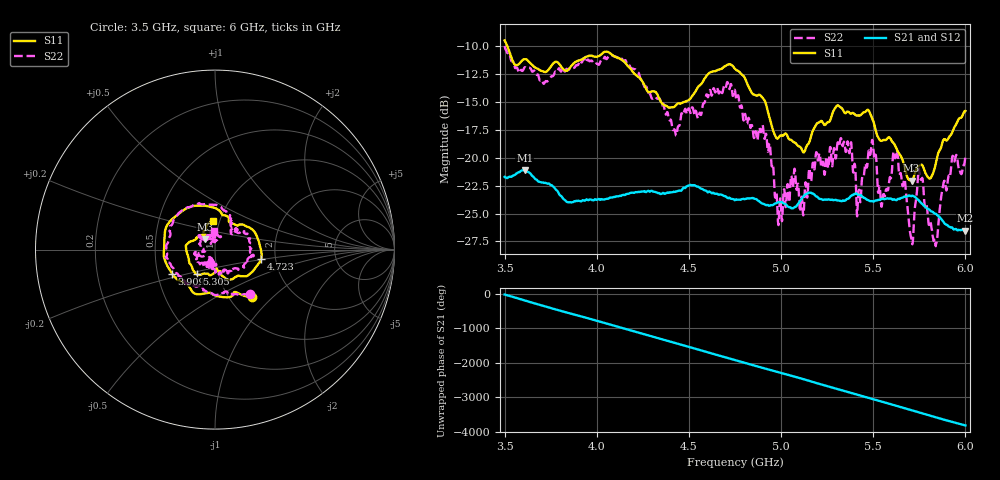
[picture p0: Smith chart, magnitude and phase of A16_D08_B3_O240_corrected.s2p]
! Created with skrf 1.9.0 (http://scikit-rf.org).
# Hz S RI R 50.0
!freq ReS11 ImS11 ReS21 ImS21 ReS12 ImS12 ReS22 ImS22
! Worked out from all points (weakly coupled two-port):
!   1601 points, 3.5 GHz to 6 GHz, reference 50 ohm
!   highest |S21| = -21.09 dB at 3.609 GHz (marker M1); lowest = -26.5 dB at 6 GHz (marker M2)
!   lowest |S11| = -22.0 dB at 5.708 GHz (marker M3), VSWR 1.17, Z = 44.6 + j5.2 ohm
!   |S11| at or under -10 dB: 3.515 GHz to end of sweep
!   |S22| runs from -27.9 to -10.0 dB; largest |S21 - S12| = 0.0011
!   S11 on the Smith chart (normalised r, x): 3.5 GHz: 1.27, -0.76; 3.909 GHz: 0.60, -0.17; 4.723 GHz: 1.68, -0.18; 5.305 GHz: 0.79, -0.22; 6 GHz: 0.93, +0.31
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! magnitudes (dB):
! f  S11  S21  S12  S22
! 3.5 GHz  -9.5  -21.7  -21.7  -10.0
! 3.609 GHz  -11.2  -21.1  -21.1  -11.9
! 3.909 GHz  -11.2  -23.9  -23.9  -11.3
! 3.917 GHz  -11.2  -23.9  -23.9  -11.5
! 4.334 GHz  -14.5  -23.2  -23.1  -14.7
! 4.425 GHz  -15.4  -23.1  -23.0  -17.6
! 4.723 GHz  -11.6  -23.6  -23.6  -13.6
! 4.75 GHz  -12.0  -23.8  -23.7  -14.0
! 4.909 GHz  -14.8  -24.2  -24.1  -18.3
! 4.994 GHz  -18.0  -24.0  -23.9  -23.8
! 5.167 GHz  -17.8  -23.2  -23.2  -21.4
! 5.305 GHz  -15.3  -23.8  -23.8  -18.8
! 5.372 GHz  -16.0  -23.6  -23.5  -19.5
! 5.42 GHz  -16.2  -23.3  -23.3  -23.0
! 5.487 GHz  -16.2  -23.9  -23.9  -19.4
! 5.584 GHz  -18.2  -23.7  -23.6  -22.4
! 5.623 GHz  -19.1  -23.8  -23.8  -19.6
! 5.708 GHz  -22.0  -23.4  -23.4  -27.4
! 5.753 GHz  -20.7  -23.9  -23.9  -21.5
! 5.836 GHz  -20.8  -25.0  -25.0  -27.6
! 5.936 GHz  -17.4  -26.4  -26.4  -20.1
! 6 GHz  -15.8  -26.5  -26.5  -19.9
